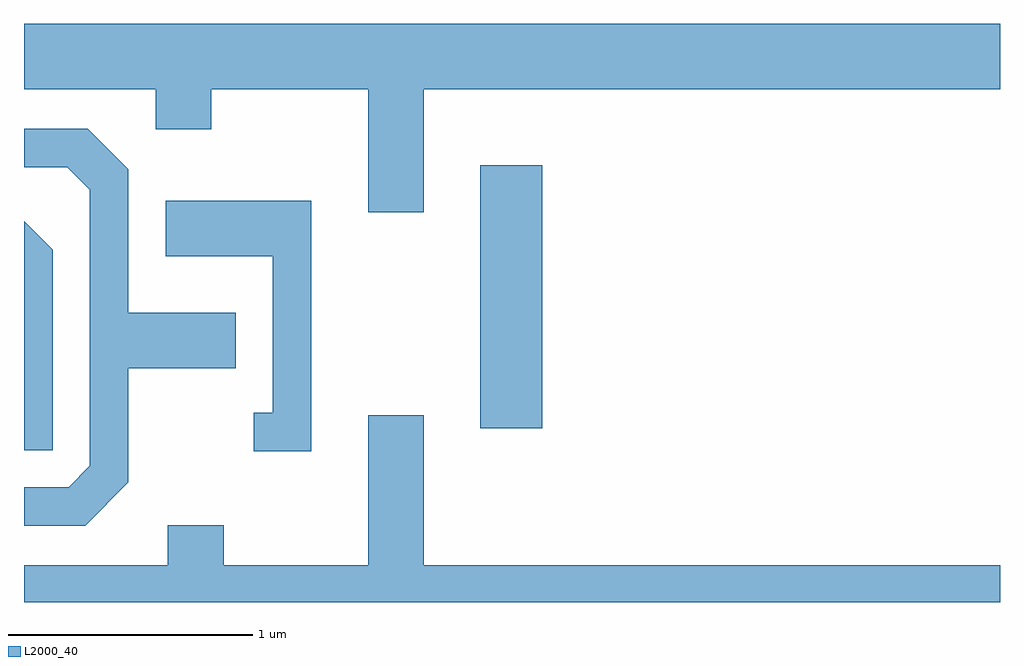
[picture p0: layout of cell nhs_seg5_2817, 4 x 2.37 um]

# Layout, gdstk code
import gdstk
lib = gdstk.Library(unit=1e-6, precision=1e-09)
def R(c, l, rs):  # rectangles x0, y0, x1, y1
    for r in rs: c.add(gdstk.rectangle(r[:2], r[2:], *l))
def P(c, l, *ps):  # polygons
    for p in ps: c.add(gdstk.Polygon(p, *l))
L2000_40 = (2000, 40)

nhs_seg5_2817 = lib.new_cell('nhs_seg5_2817')
R(nhs_seg5_2817, L2000_40, [(271.481,1408.786,271.734,1409.864)])
P(nhs_seg5_2817, L2000_40, [(271.249,1410.176),(273.611,1410.176),(273.611,1410.444),(269.611,1410.444),(269.611,1410.176),(270.151,1410.176),(270.151,1410.011),(270.379,1410.011),(270.379,1410.176),(271.021,1410.176),(271.021,1409.671),(271.249,1409.671)],
  [(270.039,1408.564),(270.039,1409.031),(270.479,1409.031),(270.479,1409.259),(270.039,1409.259),(270.039,1409.847),(269.872,1410.014),(269.611,1410.014),(269.611,1409.856),(269.789,1409.856),(269.881,1409.764),(269.881,1408.632),(269.794,1408.544),(269.611,1408.544),(269.611,1408.386),(269.862,1408.386)],
  [(270.789,1409.719),(270.191,1409.719),(270.191,1409.491),(270.631,1409.491),(270.631,1408.849),(270.553,1408.849),(270.553,1408.691),(270.789,1408.691)],
  [(269.729,1409.517),(269.611,1409.635),(269.611,1408.696),(269.729,1408.696)],
  [(273.611,1408.224),(271.249,1408.224),(271.249,1408.839),(271.021,1408.839),(271.021,1408.224),(270.429,1408.224),(270.429,1408.389),(270.201,1408.389),(270.201,1408.224),(269.611,1408.224),(269.611,1408.072),(273.611,1408.072)])

lib.write_gds('nhs_seg5_2817.gds')
